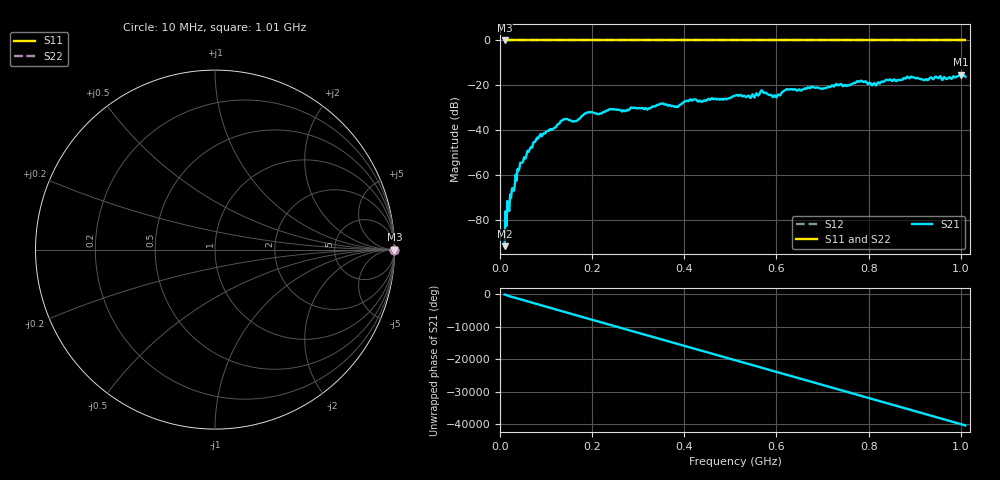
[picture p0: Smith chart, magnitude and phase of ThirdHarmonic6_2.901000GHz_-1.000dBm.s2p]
! 8/17/2025 8:01:04 AM
! C:\ANRITSUVNA\TEMP\TEMP.S2P
! CHANNEL.1
! TR.MEASUREMENT
! RAW.DATA
! RF.CORRECTION.OFF
! AVERAGING.OFF
! IF.BANDWIDTH: 5KHZ
! SWEEPTYPE:  FREQ.SWEEP(Linear)
! Reference Plane Port Info
! PORT:  PORT1  PORT2
! DISTANCE:  0  m  0  m
! TIME:  0  s  0  s
! PHASE.OFFSET:  0  deg.  0  deg.
! LOSS:  0  dB  0  dB
! REF.LOSS:  0  dB  0  dB
! REF.FREQ:  0  Hz  0  Hz
! Power Info
! POWER:  -20  dBm  -20  dBm
! EFF.POWER:  -20  dBm  -20  dBm
! SOURCE.ATTEN:  0  dB  0  dB
! TEST.ATTEN:  0  dB  0  dB
# GHZ S RI R 50.0
! FREQ.GHZ  S11RE  S11IM  S21RE  S21IM  S12RE  S12IM  S22RE  S22IM
!; PortSelection: Port_12
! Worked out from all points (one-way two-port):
!   501 points, 10 MHz to 1.01 GHz, reference 50 ohm
!   highest |S21| = -15.30 dB at 1 GHz (marker M1); lowest = -91.5 dB at 10 MHz (marker M2)
!   lowest |S11| = 0.0 dB at 10 MHz (marker M3)
!   |S11| at or under -10 dB: nowhere
!   |S22| runs from 0.0 to 0.0 dB; largest |S21 - S12| = 1.2
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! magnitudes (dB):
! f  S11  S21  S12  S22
! 10 MHz  0.0  -91.5  0.0  0.0
! 42 MHz  0.0  -57.0  0.0  0.0
! 76 MHz  0.0  -45.2  0.0  0.0
! 136 MHz  0.0  -35.5  0.0  0.0
! 162 MHz  0.0  -35.9  0.0  0.0
! 178 MHz  0.0  -33.7  0.0  0.0
! 192 MHz  0.0  -31.9  0.0  0.0
! 322 MHz  0.0  -30.3  0.0  0.0
! 344 MHz  0.0  -28.7  0.0  0.0
! 382 MHz  0.0  -29.3  0.0  0.0
! 410 MHz  0.0  -26.9  0.0  0.0
! 510 MHz  0.0  -24.6  0.0  0.0
! 548 MHz  0.0  -24.0  0.0  0.0
! 570 MHz  0.0  -22.7  0.0  0.0
! 596 MHz  0.0  -24.4  0.0  0.0
! 622 MHz  0.0  -21.7  0.0  0.0
! 678 MHz  0.0  -20.6  0.0  0.0
! 780 MHz  0.0  -18.4  0.0  0.0
! 812 MHz  0.0  -18.9  0.0  0.0
! 844 MHz  0.0  -17.6  0.0  0.0
! 1 GHz  0.0  -15.3  0.0  0.0
! 1.01 GHz  0.0  -16.2  0.0  0.0
